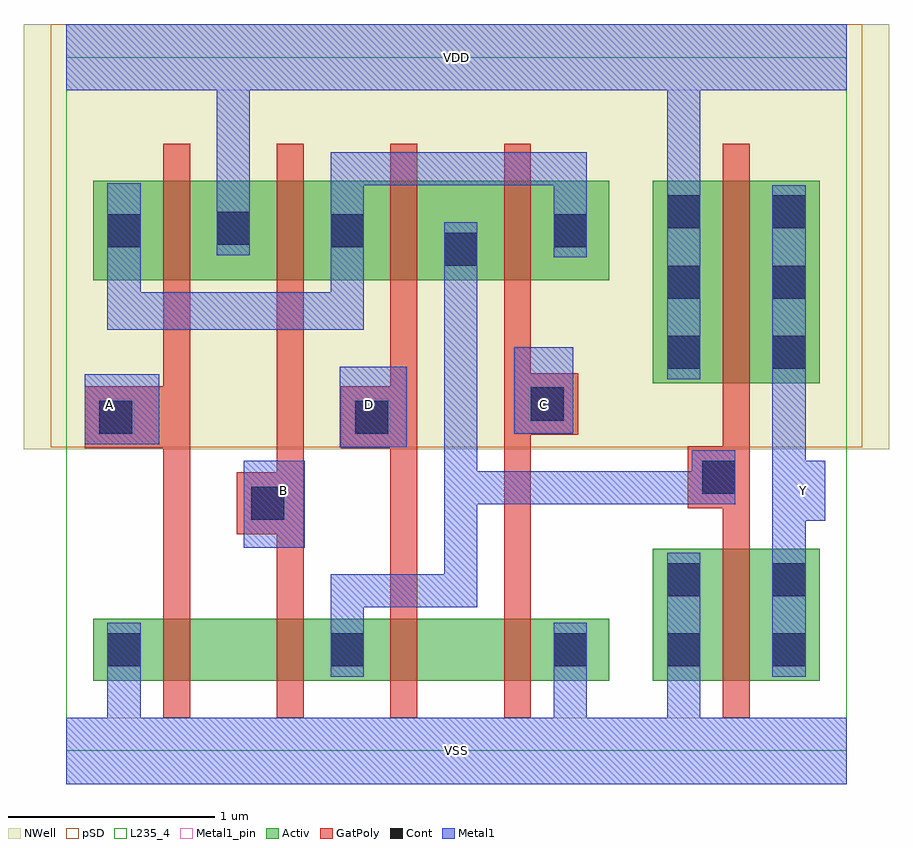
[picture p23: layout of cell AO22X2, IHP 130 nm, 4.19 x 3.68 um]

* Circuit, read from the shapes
.subckt AO22X2 A B C D VDD VSS Y
XM1 n1 A VSS VSUBS sg13_lv_nmos w=0.3u l=0.13u
XM2 n2 B n1 VSUBS sg13_lv_nmos w=0.3u l=0.13u
XM3 n3 D n2 VSUBS sg13_lv_nmos w=0.3u l=0.13u
XM4 VSS C n3 VSUBS sg13_lv_nmos w=0.3u l=0.13u
XM5 Y n2 VSS VSUBS sg13_lv_nmos w=0.64u l=0.13u
XM6 VDD A n4 n5 sg13_lv_pmos w=0.48u l=0.13u
XM7 n4 B VDD n5 sg13_lv_pmos w=0.48u l=0.13u
XM8 n2 D n4 n5 sg13_lv_pmos w=0.48u l=0.13u
XM9 n4 C n2 n5 sg13_lv_pmos w=0.48u l=0.13u
XM10 Y n2 VDD n5 sg13_lv_pmos w=0.98u l=0.13u
.ends

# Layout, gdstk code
import gdstk
lib = gdstk.Library(unit=1e-6, precision=1e-09)
def R(c, l, rs):  # rectangles x0, y0, x1, y1
    for r in rs: c.add(gdstk.rectangle(r[:2], r[2:], *l))
def A(c, l, x, y, w, h, nx, ny, dx, dy):  # array of equal rectangles
    R(c, l, [(x+i*dx, y+j*dy, x+i*dx+w, y+j*dy+h) for i in range(nx) for j in range(ny)])
def P(c, l, *ps):  # polygons
    for p in ps: c.add(gdstk.Polygon(p, *l))
Activ = (1, 0)
GatPoly = (5, 0)
Cont = (6, 0)
Metal1 = (8, 0)
Metal1_pin = (8, 2)
pSD = (14, 0)
NWell = (31, 0)
L235_4 = (235, 4)

ao22x2 = lib.new_cell('AO22X2')
R(ao22x2, Activ, [(0.13,0.34,2.63,0.64), (2.84,0.34,3.65,0.98), (2.84,1.78,3.65,2.76), (0.13,2.28,2.63,2.76)])
P(ao22x2, GatPoly, [(2.48,1.83),(2.25,1.83),(2.25,2.94),(2.12,2.94),(2.12,0.16),(2.25,0.16),(2.25,1.53),(2.48,1.53)],
  [(1.7,2.94),(1.57,2.94),(1.57,1.765),(1.33,1.765),(1.33,1.465),(1.57,1.465),(1.57,0.16),(1.7,0.16)],
  [(1.15,2.94),(1.02,2.94),(1.02,1.35),(0.825,1.35),(0.825,1.05),(1.02,1.05),(1.02,0.16),(1.15,0.16)],
  [(0.6,2.94),(0.47,2.94),(0.47,1.765),(0.09,1.765),(0.09,1.465),(0.47,1.465),(0.47,0.16),(0.6,0.16)],
  [(3.31,2.94),(3.18,2.94),(3.18,1.475),(3.01,1.475),(3.01,1.175),(3.18,1.175),(3.18,0.16),(3.31,0.16)])
A(ao22x2, Cont, 0.2, 0.41, 0.16, 0.16, 3, 2, 1.08, 2.03)
A(ao22x2, Cont, 2.91, 1.85, 0.16, 0.16, 1, 3, 0, 0.34)
A(ao22x2, Cont, 3.42, 1.85, 0.16, 0.16, 1, 3, 0, 0.34)
R(ao22x2, Cont, [(2.91,0.41,3.07,0.57), (3.42,0.41,3.58,0.57), (2.91,0.75,3.07,0.91), (3.42,0.75,3.58,0.91), (0.895,1.12,1.055,1.28), (3.08,1.245,3.24,1.405), (0.16,1.535,0.32,1.695), (1.4,1.535,1.56,1.695), (2.25,1.6,2.41,1.76), (1.83,2.35,1.99,2.51), (0.73,2.45,0.89,2.61)])
R(ao22x2, Metal1, [(0.86,0.985,1.155,1.405), (1.325,1.47,1.65,1.86), (0.09,1.485,0.45,1.825), (2.17,1.535,2.455,1.955)])
P(ao22x2, Metal1, [(3.675,1.405),(3.58,1.405),(3.58,2.74),(3.42,2.74),(3.42,0.36),(3.58,0.36),(3.58,1.115),(3.675,1.115)],
  [(3.78,0.16),(3.07,0.16),(3.07,0.96),(2.91,0.96),(2.91,0.16),(2.52,0.16),(2.52,0.62),(2.36,0.62),(2.36,0.16),(0.36,0.16),(0.36,0.62),(0.2,0.62),(0.2,0.16),(0,0.16),(0,-0.16),(3.78,-0.16)],
  [(3.78,3.52),(0,3.52),(0,3.2),(0.73,3.2),(0.73,2.4),(0.89,2.4),(0.89,3.2),(2.91,3.2),(2.91,1.8),(3.07,1.8),(3.07,3.2),(3.78,3.2)],
  [(3.24,1.455),(3.03,1.455),(3.03,1.355),(1.99,1.355),(1.99,2.56),(1.83,2.56),(1.83,0.855),(1.28,0.855),(1.28,0.36),(1.44,0.36),(1.44,0.695),(1.99,0.695),(1.99,1.195),(3.24,1.195)],
  [(2.52,2.9),(1.28,2.9),(1.28,2.22),(0.36,2.22),(0.36,2.75),(0.2,2.75),(0.2,2.04),(1.44,2.04),(1.44,2.74),(2.36,2.74),(2.36,2.39),(2.52,2.39)])
R(ao22x2, Metal1_pin, [(0,-0.16,3.78,0.16), (0.86,0.985,1.155,1.405), (3.42,1.115,3.675,1.405), (1.325,1.47,1.65,1.86), (0.09,1.485,0.45,1.825), (2.17,1.535,2.455,1.955), (0,3.2,3.78,3.52)])
P(ao22x2, Metal1_pin, [(3.675,1.405),(3.58,1.405),(3.58,2.74),(3.42,2.74),(3.42,0.36),(3.58,0.36),(3.58,1.115),(3.675,1.115)])
R(ao22x2, pSD, [(-0.075,1.47,3.855,3.52)])
R(ao22x2, NWell, [(-0.205,1.46,3.985,3.52)])
R(ao22x2, L235_4, [(0,0,3.78,3.36)])
ao22x2.add(gdstk.Label('A', (0.21,1.68), layer=8, texttype=25))
ao22x2.add(gdstk.Label('VSS', (1.89,0), layer=8, texttype=25))
ao22x2.add(gdstk.Label('Y', (3.57,1.26), layer=8, texttype=25))
ao22x2.add(gdstk.Label('VDD', (1.89,3.36), layer=8, texttype=25))
ao22x2.add(gdstk.Label('D', (1.47,1.68), layer=8, texttype=25))
ao22x2.add(gdstk.Label('B', (1.05,1.26), layer=8, texttype=25))
ao22x2.add(gdstk.Label('C', (2.31,1.68), layer=8, texttype=25))

lib.write_gds('AO22X2.gds')
